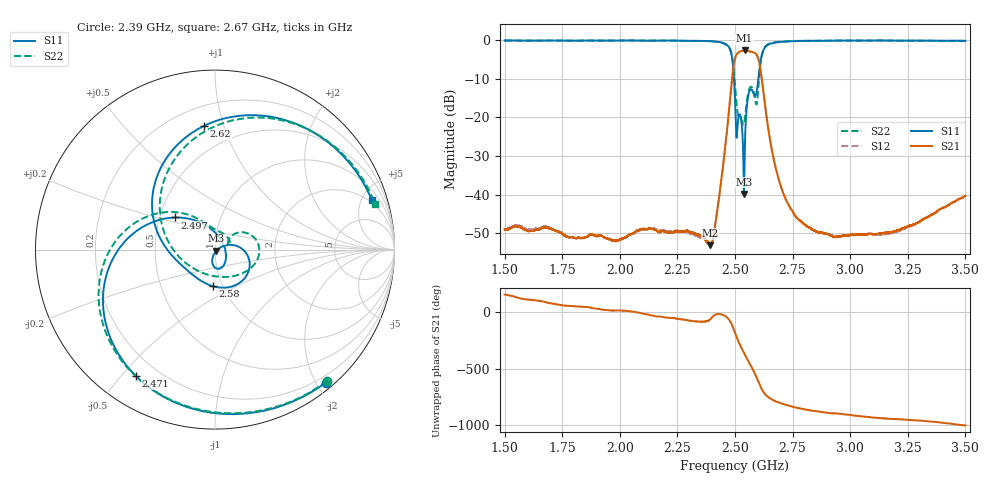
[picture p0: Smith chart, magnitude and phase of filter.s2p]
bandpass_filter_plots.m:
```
x = readtable('dielectric_param_sweep_data.csv');
tmp =  split(x.Var1,",");
y = str2double(tmp(:,2));
tmp1 =  split(x.Var4,",");
y1 = str2double(tmp1(:,2));
plot(y,mag2db(y1));
%% Really bad code beware
close all
clear
T = readtable('printer_tolerances_bandpass_filter.csv');
T.Properties.VariableNames = {'Var1','Var2','Var3'};
% Calculate the number of rows in your table
numRows = 3200016 / 16;

% Determine the total number of iterations based on the step size of 200
stepSize = 1;
numIterations = ceil(numRows / stepSize);  % Adjusted for step size of 200

% Pre-allocate storage vectors to the correct size
var2_sums = [zeros(numIterations, 1), zeros(numIterations, 1), zeros(numIterations, 1)];
var3_sums = [zeros(numIterations, 1), zeros(numIterations, 1), zeros(numIterations, 1),zeros(numIterations, 1),zeros(numIterations, 1)];

% Initialize a storage index
index = 1;
     % Loop through each row with the step size of 200
for i = (11*numRows)+10:stepSize:(12*numRows)-10
         % Extract number from Var2
         var2_str = T.Var2{i};  % Get the string from the cell
         var2_nums(index,1) = sscanf(var2_str, '%f');  % Extract the numerical part
 
         % Extract number from Var3 before the '/'
         var3_str = T.Var3{i};  % Get the string from the cell
         var3_nums(index,1) = sscanf(var3_str, '%f');  % Extract the numerical part
 
         % Move to the next storage index
         index = index + 1;
end
 index = 1;
     % Loop through each row with the step size of 200
for i = (numRows)+10:stepSize:(numRows*2)-10
         % Extract number from Var2
         var2_str2 = T.Var2{i};  % Get the string from the cell
         var2_nums(index,2) = sscanf(var2_str2, '%f');  % Extract the numerical part
 
         % Extract number from Var3 before the '/'
         var3_str2 = T.Var3{i};  % Get the string from the cell
         var3_nums(index,2) = sscanf(var3_str2, '%f');  % Extract the numerical part
 
         % Move to the next storage index
         index = index + 1;
end
index = 1;
     % Loop through each row with the step size of 200
for i = (3*numRows)+10:stepSize:(numRows*4)-10
         % Extract number from Var2
         var2_str2 = T.Var2{i};  % Get the string from the cell
         var2_nums(index,3) = sscanf(var2_str2, '%f');  % Extract the numerical part
 
         % Extract number from Var3 before the '/'
         var3_str2 = T.Var3{i};  % Get the string from the cell
         var3_nums(index,3) = sscanf(var3_str2, '%f');  % Extract the numerical part
 
         % Move to the next storage index
         index = index + 1;
end
index = 1;
     % Loop through each row with the step size of 200
for i = (14*numRows)+10:stepSize:(numRows*15)-10
         % Extract number from Var2
         var2_str2 = T.Var2{i};  % Get the string from the cell
         var2_nums(index,3) = sscanf(var2_str2, '%f');  % Extract the numerical part
 
         % Extract number from Var3 before the '/'
         var3_str2 = T.Var3{i};  % Get the string from the cell
         var3_nums(index,4) = sscanf(var3_str2, '%f');  % Extract the numerical part
 
         % Move to the next storage index
         index = index + 1;
end

index = 1;
     % Loop through each row with the step size of 200
for i = (9*numRows)+10:stepSize:(numRows*10)-10
         % Extract number from Var2
         var2_str2 = T.Var2{i};  % Get the string from the cell
         var2_nums(index,3) = sscanf(var2_str2, '%f');  % Extract the numerical part
 
         % Extract number from Var3 before the '/'
         var3_str2 = T.Var3{i};  % Get the string from the cell
         var3_nums(index,5) = sscanf(var3_str2, '%f');  % Extract the numerical part
 
         % Move to the next storage index
         index = index + 1;
end
% Display the results, converting var3_nums to dB
windowSize = 2800;  % Try different values for the moving average window
var3_nums_smooth = movmean(var3_nums, windowSize);
s1 = plot(var2_nums, mag2db(var3_nums_smooth(:,1)));
s1(1).LineWidth = 1.4;
s1(2).LineWidth = 1.4;
s1(3).LineWidth = 1.4;
hold on
s2 = plot(var2_nums, mag2db(var3_nums_smooth(:,2)));
s2(1).LineWidth = 1.4;
s2(2).LineWidth = 1.4;
s2(3).LineWidth = 1.4;
hold on
s3 = plot(var2_nums, mag2db(var3_nums_smooth(:,3)));
s3(1).LineWidth = 1.4;
s3(2).LineWidth = 1.4;
s3(3).LineWidth = 1.4;
hold on
s4 = plot(var2_nums, mag2db(var3_nums_smooth(:,4)));
s4(1).LineWidth = 1.4;
s4(2).LineWidth = 1.4;
s4(3).LineWidth = 1.4;
hold on
s5 = plot(var2_nums, mag2db(var3_nums_smooth(:,5)));
s5(1).LineWidth = 1.4;
s5(2).LineWidth = 1.4;
s5(3).LineWidth = 1.4;
hold on

T = readtable('printer_tolerance_dielectric_param_sweep.csv');
T.Properties.VariableNames = {'Var1','Var2','Var3','Var4'};

freq = cellfun(@(x) sscanf(x, '%f'), T.Var3);
mag = cellfun(@(x) str2double(regexp(x, '^[^/]+', 'match')), T.Var4);

numPieces = 4;
pieceSize = 200001;

% Preallocate a cell array to store the pieces
pieces = cell(1, numPieces);

% Split the data into the specified number of pieces
for i = 1:numPieces
    % Calculate the start and end indices for each piece
    startIdx = (i-1) * pieceSize + 1;
    endIdx = i * pieceSize;
    
    % Extract the piece and store it in the cell array
    freq_sort{i} = freq(startIdx:endIdx);
    mag_sort{i} = mag(startIdx:endIdx);
end

% [C,ia,ic] = unique(freq_sort{1},'stable');

windowSize = 2800;  % Try different values for the moving average window
for k = 1:numPieces
    mag_sort_smooth{k} = movmean(mag_sort{k}, windowSize);
end

s6 = plot(freq_sort{1},mag2db(mag_sort_smooth{1}));
s6(1).LineWidth = 1.4;
hold on
s7 = plot(freq_sort{4},mag2db(mag_sort_smooth{4}));
s7(1).LineWidth = 1.4;
hold off

s6 = plot(freq_sort{1},mag2db(mag_sort_smooth{1}));
s6(1).LineWidth = 1.4;
hold on
data = read(rfdata.data, 'filter.s2p');%meassured bandpass filter data
freq1 = (data.Freq)./1E9;
S21 = squeeze(data.S_Parameters(1,2,:));
[value, index] = max(mag2db(abs(S21)));
s1 = plot(freq1, mag2db(abs(S21))); %meassure bandpass filter plot
s1.LineWidth = 1.8;
grid on
xlim([1.5 3.5]);
xlabel('Frequency [GHz]');
ylabel('Magnitude [dB]');
set(gca,'FontSize',18);
title('Worst case simulation and measured data','FontSize',24);
legend('Simulation','Measured');
hold off
```
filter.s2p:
#  HZ  S  DB  R  50.00
! Rohde & Schwarz Vector Network Analyzer
! Rohde-Schwarz,ZNA43-4Port,1332450044101989,2.61
! Created: UTC 10/22/2024, 1:32:35 PM
! freq[Hz]  db:S11  ang:S11  db:S21  ang:S21  db:S12  ang:S12  db:S22  ang:S22
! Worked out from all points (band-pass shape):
!   9999 points, 1.5 GHz to 3.5 GHz, reference 50 ohm
!   highest |S21| = -2.75 dB at 2.542 GHz (marker M1); lowest = -53.0 dB at 2.394 GHz (marker M2)
!   |S21| within 3 dB of the highest: 2.497 GHz to 2.605 GHz (108.4 MHz wide, 4.25 % of centre)
!   lowest |S11| = -39.8 dB at 2.539 GHz (marker M3), VSWR 1.02, Z = 50.8 - j0.697 ohm
!   |S11| at or under -10 dB: 2.496 GHz to 2.601 GHz (105.7 MHz wide, 4.15 % of centre)
!   |S22| runs from -21.9 to -0.2 dB; largest |S21 - S12| = 0.0064
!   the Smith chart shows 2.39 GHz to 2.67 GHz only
!   S11 on the Smith chart (normalised r, x): 2.39 GHz: 0.10, -2.13; 2.471 GHz: 0.12, -0.55; 2.497 GHz: 0.60, +0.23; 2.58 GHz: 0.90, -0.38; 2.62 GHz: 0.33, +0.86; 2.67 GHz: 1.75, +6.01
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1.5e9  -0.17 149.4  -48.93 153.9  -48.84 155.6  -0.18 149.9
2.389578e9  -0.32 -50.2  -52.81 -70.9  -53.16 -70.1  -0.35 -49.5
2.393579e9  -0.33 -52.1  -53.04 -63.0  -53.17 -62.5  -0.37 -51.4
2.470594e9  -1.60 -121.9  -20.35 -59.2  -20.41 -59.0  -1.73 -126.5
2.496599e9  -10.90 141.1  -5.76 -165.3  -5.81 -165.1  -9.18 143.1
2.5e9  -15.16 118.9  -4.83 175.2  -4.88 175.5  -11.70 129.8
2.538808e9  -39.84 -42.4  -2.76 -0.5  -2.80 -0.4  -21.77 27.9
2.541608e9  -30.02 20.4  -2.75 -11.5  -2.79 -11.4  -20.87 34.5
2.579816e9  -13.81 -93.2  -3.21 -156.8  -3.27 -156.6  -13.27 -31.9
2.620024e9  -3.19 95.0  -11.85 24.7  -11.91 24.9  -3.17 88.7
2.670034e9  -0.76 17.5  -31.37 -62.5  -31.41 -62.4  -0.65 15.9
3.5e9  -0.25 -164.6  -40.28 78.5  -40.39 75.0  -0.29 -162.1
